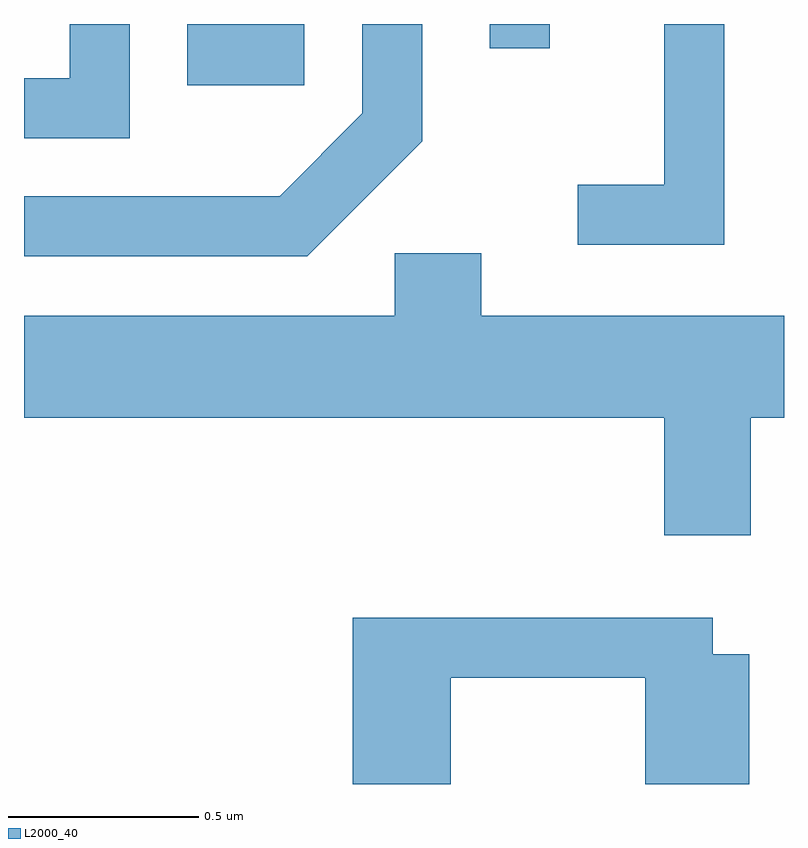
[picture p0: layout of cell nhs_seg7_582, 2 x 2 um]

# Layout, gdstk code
import gdstk
lib = gdstk.Library(unit=1e-6, precision=1e-09)
def R(c, l, rs):  # rectangles x0, y0, x1, y1
    for r in rs: c.add(gdstk.rectangle(r[:2], r[2:], *l))
def P(c, l, *ps):  # polygons
    for p in ps: c.add(gdstk.Polygon(p, *l))
L2000_40 = (2000, 40)

nhs_seg7_582 = lib.new_cell('nhs_seg7_582')
R(nhs_seg7_582, L2000_40, [(190.041,1704.091,190.349,1704.252), (190.836,1704.188,190.994,1704.252)])
P(nhs_seg7_582, L2000_40, [(190.659,1703.944),(190.659,1704.252),(190.501,1704.252),(190.501,1704.017),(190.284,1703.799),(189.611,1703.799),(189.611,1703.641),(190.357,1703.641)],
  [(191.454,1704.252),(191.296,1704.252),(191.296,1703.829),(191.068,1703.829),(191.068,1703.671),(191.454,1703.671)],
  [(189.889,1704.252),(189.731,1704.252),(189.731,1704.109),(189.611,1704.109),(189.611,1703.951),(189.889,1703.951)],
  [(191.524,1703.216),(191.611,1703.216),(191.611,1703.484),(190.814,1703.484),(190.814,1703.649),(190.586,1703.649),(190.586,1703.484),(189.611,1703.484),(189.611,1703.216),(191.296,1703.216),(191.296,1702.906),(191.524,1702.906)],
  [(190.734,1702.531),(191.246,1702.531),(191.246,1702.252),(191.519,1702.252),(191.519,1702.594),(191.424,1702.594),(191.424,1702.689),(190.476,1702.689),(190.476,1702.252),(190.734,1702.252)])

lib.write_gds('nhs_seg7_582.gds')
